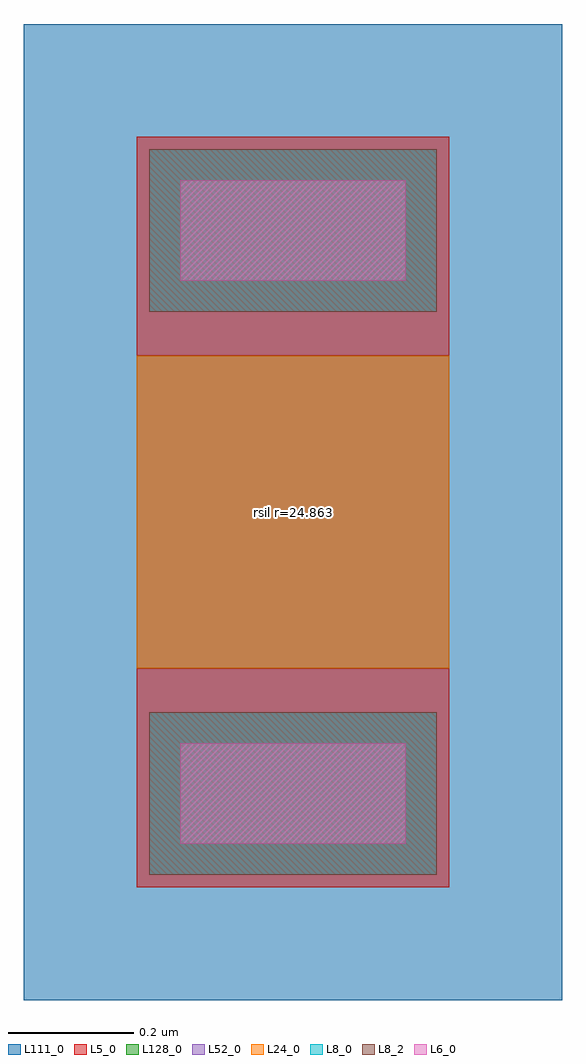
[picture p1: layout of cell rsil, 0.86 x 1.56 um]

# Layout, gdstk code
import gdstk
lib = gdstk.Library(unit=1e-6, precision=1e-09)
def R(c, l, rs):  # rectangles x0, y0, x1, y1
    for r in rs: c.add(gdstk.rectangle(r[:2], r[2:], *l))
L5_0 = (5, 0)
L6_0 = (6, 0)
L8_0 = (8, 0)
L8_2 = (8, 2)
L24_0 = (24, 0)
L52_0 = (52, 0)
L111_0 = (111, 0)
L128_0 = (128, 0)

rsil = lib.new_cell('rsil')
R(rsil, L5_0, [(0,-0.35,0.5,0), (0,-0.35,0.5,0), (0,0.5,0.5,0.85), (0,0.5,0.5,0.85)])
R(rsil, L6_0, [(0.07,-0.28,0.43,-0.12), (0.07,-0.28,0.43,-0.12), (0.07,0.62,0.43,0.78), (0.07,0.62,0.43,0.78)])
R(rsil, L8_0, [(0.02,-0.33,0.48,-0.07), (0.02,-0.33,0.48,-0.07), (0.02,0.57,0.48,0.83), (0.02,0.57,0.48,0.83)])
R(rsil, L8_2, [(0.02,-0.33,0.48,-0.07), (0.02,-0.33,0.48,-0.07), (0.02,0.57,0.48,0.83), (0.02,0.57,0.48,0.83)])
R(rsil, L24_0, [(0,0,0.5,0.5), (0,0,0.5,0.5)])
R(rsil, L52_0, [(0,0,0.5,0.5), (0,0,0.5,0.5)])
R(rsil, L111_0, [(-0.18,-0.53,0.68,0), (-0.18,-0.53,0.68,0), (-0.18,0,0.68,1.03), (-0.18,0,0.68,1.03), (-0.18,0,0.68,0.5), (-0.18,0,0.68,0.5)])
R(rsil, L128_0, [(0,0,0.5,0.5), (0,0,0.5,0.5)])
rsil.add(gdstk.Label('rsil r=24.863', (0.25,0.25), layer=63, texttype=0))
rsil.add(gdstk.Label('rsil r=24.863', (0.25,0.25), layer=63, texttype=0))
rsil.add(gdstk.Label('rsil', (0.25,0.25), layer=52, texttype=0))
rsil.add(gdstk.Label('rsil', (0.25,0.25), layer=52, texttype=0))

lib.write_gds('rsil.gds')
